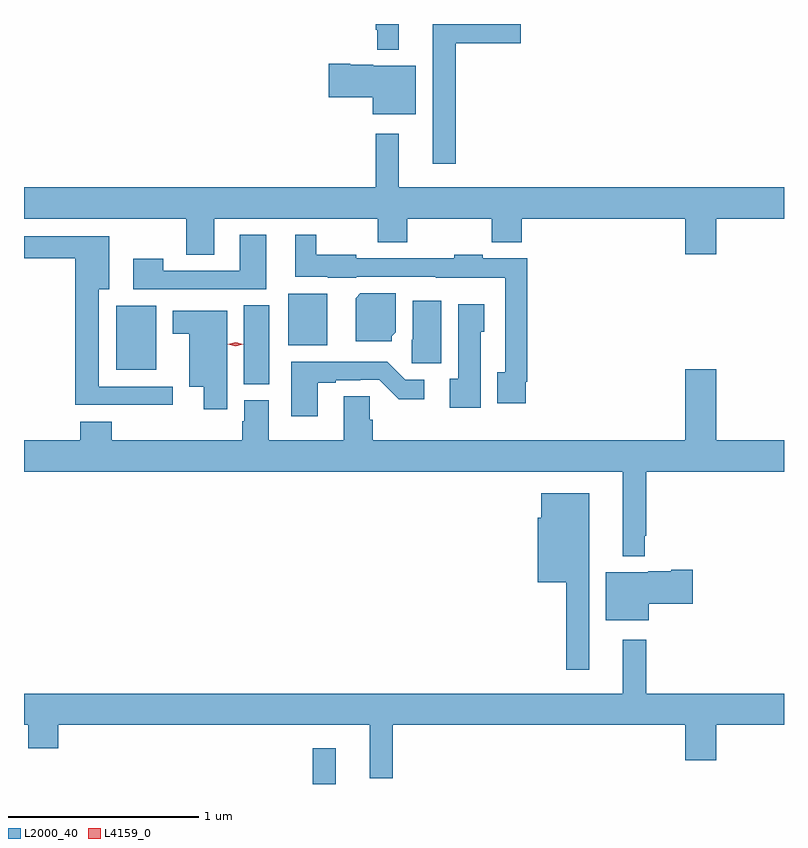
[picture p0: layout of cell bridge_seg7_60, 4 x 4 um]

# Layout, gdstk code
import gdstk
lib = gdstk.Library(unit=1e-6, precision=1e-09)
def R(c, l, rs):  # rectangles x0, y0, x1, y1
    for r in rs: c.add(gdstk.rectangle(r[:2], r[2:], *l))
def P(c, l, *ps):  # polygons
    for p in ps: c.add(gdstk.Polygon(p, *l))
L2000_40 = (2000, 40)
L4159_0 = (4159, 0)

bridge_seg7_60 = lib.new_cell('bridge_seg7_60')
R(bridge_seg7_60, L2000_40, [(978.234,1018.952,978.355,1019.14), (977.87,1021.057,978.004,1021.472), (977.198,1021.133,977.41,1021.468), (978.104,1021.262,978.31,1021.532)])
P(bridge_seg7_60, L2000_40, [(978.685,1022.952),(978.564,1022.952),(978.564,1022.923),(978.571,1022.923),(978.571,1022.816),(978.685,1022.816)],
  [(978.985,1022.852),(979.327,1022.852),(979.327,1022.952),(978.863,1022.952),(978.863,1022.217),(978.985,1022.217)],
  [(978.775,1022.731),(978.552,1022.731),(978.552,1022.737),(978.43,1022.737),(978.43,1022.744),(978.318,1022.744),(978.318,1022.566),(978.548,1022.566),(978.548,1022.477),(978.775,1022.477)],
  [(977.713,1021.928),(978.574,1021.928),(978.574,1021.804),(978.729,1021.804),(978.729,1021.928),(979.174,1021.928),(979.174,1021.804),(979.334,1021.804),(979.334,1021.928),(980.192,1021.928),(980.192,1021.74),(980.356,1021.74),(980.356,1021.928),(980.713,1021.928),(980.713,1022.092),(978.685,1022.092),(978.685,1022.374),(978.564,1022.374),(978.564,1022.092),(976.713,1022.092),(976.713,1021.928),(977.566,1021.928),(977.566,1021.738),(977.713,1021.738)],
  [(979.354,1021.069),(979.361,1021.069),(979.361,1021.719),(979.128,1021.719),(979.128,1021.737),(978.978,1021.737),(978.978,1021.719),(978.462,1021.719),(978.462,1021.738),(978.25,1021.738),(978.25,1021.843),(978.14,1021.843),(978.14,1021.622),(978.312,1021.622),(978.312,1021.616),(978.462,1021.616),(978.462,1021.623),(978.879,1021.623),(978.879,1021.616),(979.245,1021.616),(979.245,1021.118),(979.205,1021.118),(979.205,1020.957),(979.354,1020.957)],
  [(977.989,1021.843),(977.849,1021.843),(977.849,1021.653),(977.445,1021.653),(977.445,1021.717),(977.289,1021.717),(977.289,1021.557),(977.989,1021.557)],
  [(977.497,1021.044),(977.107,1021.044),(977.107,1021.556),(977.161,1021.556),(977.161,1021.836),(976.713,1021.836),(976.713,1021.72),(976.982,1021.72),(976.982,1020.947),(977.497,1020.947)],
  [(978.648,1021.308),(978.67,1021.33),(978.67,1021.534),(978.484,1021.534),(978.458,1021.508),(978.458,1021.283),(978.648,1021.283)],
  [(978.91,1021.495),(978.758,1021.495),(978.758,1021.29),(978.754,1021.29),(978.754,1021.167),(978.91,1021.167)],
  [(979.117,1021.332),(979.135,1021.332),(979.135,1021.477),(978.998,1021.477),(978.998,1021.086),(978.953,1021.086),(978.953,1020.932),(979.117,1020.932)],
  [(977.782,1021.444),(977.495,1021.444),(977.495,1021.322),(977.582,1021.322),(977.582,1021.043),(977.66,1021.043),(977.66,1020.924),(977.782,1020.924)],
  [(978.259,1021.065),(978.355,1021.065),(978.355,1021.077),(978.482,1021.077),(978.482,1021.08),(978.582,1021.08),(978.685,1020.978),(978.82,1020.978),(978.82,1021.08),(978.72,1021.08),(978.626,1021.174),(978.119,1021.174),(978.119,1020.888),(978.259,1020.888)],
  [(979.979,1020.259),(979.987,1020.259),(979.987,1020.596),(980.713,1020.596),(980.713,1020.76),(980.356,1020.76),(980.356,1021.135),(980.192,1021.135),(980.192,1020.76),(978.548,1020.76),(978.548,1020.87),(978.534,1020.87),(978.534,1020.992),(978.395,1020.992),(978.395,1020.76),(978.001,1020.76),(978.001,1020.972),(977.873,1020.972),(977.873,1020.861),(977.861,1020.861),(977.861,1020.76),(977.174,1020.76),(977.174,1020.859),(977.009,1020.859),(977.009,1020.76),(976.713,1020.76),(976.713,1020.596),(979.865,1020.596),(979.865,1020.152),(979.979,1020.152)],
  [(979.687,1020.481),(979.436,1020.481),(979.436,1020.354),(979.418,1020.354),(979.418,1020.014),(979.566,1020.014),(979.566,1019.553),(979.687,1019.553)],
  [(980.002,1019.902),(980.233,1019.902),(980.233,1020.08),(980.12,1020.08),(980.12,1020.073),(979.998,1020.073),(979.998,1020.067),(979.775,1020.067),(979.775,1019.813),(980.002,1019.813)],
  [(978.655,1019.264),(980.192,1019.264),(980.192,1019.076),(980.356,1019.076),(980.356,1019.264),(980.713,1019.264),(980.713,1019.428),(979.987,1019.428),(979.987,1019.71),(979.865,1019.71),(979.865,1019.428),(976.713,1019.428),(976.713,1019.264),(976.735,1019.264),(976.735,1019.14),(976.892,1019.14),(976.892,1019.264),(978.533,1019.264),(978.533,1018.983),(978.655,1018.983)])
P(bridge_seg7_60, L4159_0, [(977.827,1021.256),(977.786,1021.266),(977.786,1021.266),(977.786,1021.266),(977.827,1021.276),(977.867,1021.267),(977.868,1021.267),(977.867,1021.267)])

lib.write_gds('bridge_seg7_60.gds')
